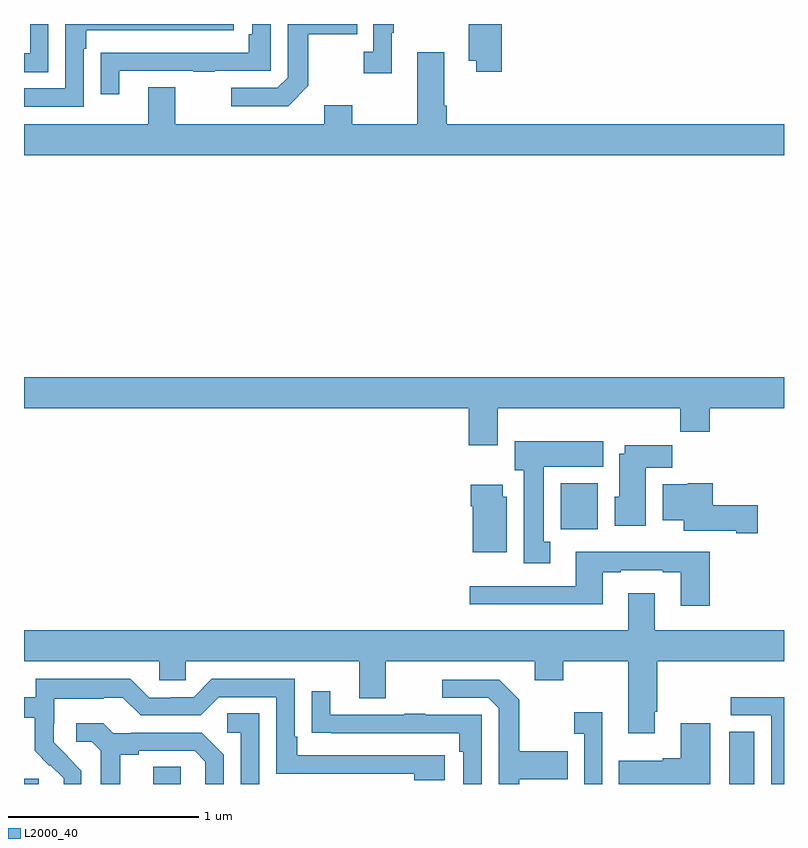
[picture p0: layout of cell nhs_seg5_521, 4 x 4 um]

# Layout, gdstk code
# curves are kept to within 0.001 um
import gdstk
lib = gdstk.Library(unit=1e-6, precision=1e-09)
def R(c, l, rs):  # rectangles x0, y0, x1, y1
    for r in rs: c.add(gdstk.rectangle(r[:2], r[2:], *l))
def P(c, l, *ps):  # polygons
    for p in ps: c.add(gdstk.Polygon(p, *l))
L2000_40 = (2000, 40)

nhs_seg5_521 = lib.new_cell('nhs_seg5_521')
R(nhs_seg5_521, L2000_40, [(145,838.799,145.078,838.827), (145.679,838.799,145.824,838.889), (148.712,838.799,148.843,839.075), (147.824,840.14,148.021,840.382)])
P(nhs_seg5_521, L2000_40, [(146.497,842.473),(146.497,842.746),(146.753,842.746),(146.753,842.799),(146.388,842.799),(146.388,842.517),(146.334,842.463),(146.091,842.463),(146.091,842.367),(146.391,842.367)],
  [(147.515,842.799),(147.34,842.799),(147.34,842.606),(147.38,842.606),(147.38,842.547),(147.515,842.547)],
  [(145.314,842.669),(145.327,842.669),(145.327,842.766),(146.104,842.766),(146.104,842.799),(145.218,842.799),(145.218,842.46),(145,842.46),(145,842.364),(145.314,842.364)],
  [(146.935,842.753),(146.947,842.753),(146.947,842.799),(146.838,842.799),(146.838,842.654),(146.787,842.654),(146.787,842.541),(146.935,842.541)],
  [(145.501,842.553),(145.891,842.553),(145.891,842.548),(146.003,842.548),(146.003,842.553),(146.298,842.553),(146.298,842.799),(146.202,842.799),(146.202,842.746),(146.182,842.746),(146.182,842.649),(145.507,842.649),(145.507,842.648),(145.405,842.648),(145.405,842.43),(145.501,842.43)],
  [(145.128,842.799),(145.032,842.799),(145.032,842.646),(145,842.646),(145,842.545),(145.128,842.545)],
  [(146.579,842.371),(146.579,842.272),(145.795,842.272),(145.795,842.467),(145.655,842.467),(145.655,842.272),(145,842.272),(145,842.108),(149,842.108),(149,842.272),(147.224,842.272),(147.224,842.368),(147.211,842.368),(147.211,842.65),(147.071,842.65),(147.071,842.272),(146.727,842.272),(146.727,842.371)],
  [(147.493,840.776),(148.453,840.776),(148.453,840.652),(148.61,840.652),(148.61,840.776),(149,840.776),(149,840.94),(145,840.94),(145,840.776),(147.341,840.776),(147.341,840.582),(147.493,840.582)],
  [(147.769,840.074),(147.736,840.074),(147.736,840.47),(148.048,840.47),(148.048,840.604),(147.584,840.604),(147.584,840.45),(147.629,840.45),(147.629,839.961),(147.769,839.961)],
  [(148.273,840.464),(148.412,840.464),(148.412,840.583),(148.163,840.583),(148.163,840.538),(148.133,840.538),(148.133,840.312),(148.109,840.312),(148.109,840.158),(148.273,840.158)],
  [(148.861,840.266),(148.625,840.266),(148.625,840.382),(148.494,840.382),(148.494,840.376),(148.361,840.376),(148.361,840.188),(148.472,840.188),(148.472,840.131),(148.748,840.131),(148.748,840.119),(148.861,840.119)],
  [(147.541,840.312),(147.52,840.312),(147.52,840.373),(147.35,840.373),(147.35,840.26),(147.362,840.26),(147.362,840.02),(147.541,840.02)],
  [(148.61,840.022),(147.905,840.022),(147.905,839.841),(147.345,839.841),(147.345,839.744),(148.045,839.744),(148.045,839.913),(148.141,839.913),(148.141,839.925),(148.361,839.925),(148.361,839.913),(148.457,839.913),(148.457,839.736),(148.61,839.736)],
  [(148.321,839.179),(148.334,839.179),(148.334,839.444),(149,839.444),(149,839.608),(148.321,839.608),(148.321,839.803),(148.181,839.803),(148.181,839.608),(145,839.608),(145,839.444),(145.713,839.444),(145.713,839.346),(145.851,839.346),(145.851,839.444),(146.765,839.444),(146.765,839.25),(146.905,839.25),(146.905,839.444),(147.689,839.444),(147.689,839.345),(147.837,839.345),(147.837,839.444),(148.181,839.444),(148.181,839.067),(148.321,839.067)],
  [(145.302,838.87),(145.156,839.018),(145.156,839.115),(145.158,839.115),(145.158,839.249),(145.421,839.249),(145.421,839.253),(145.521,839.253),(145.614,839.16),(145.929,839.16),(146.025,839.256),(146.328,839.256),(146.328,838.854),(147.053,838.854),(147.053,838.82),(147.214,838.82),(147.214,838.95),(146.437,838.95),(146.437,839.047),(146.424,839.047),(146.424,839.352),(145.989,839.352),(145.893,839.256),(145.775,839.256),(145.775,839.253),(145.659,839.253),(145.559,839.353),(145.062,839.353),(145.062,839.256),(145,839.256),(145,839.148),(145.057,839.148),(145.057,838.973),(145.134,838.896),(145.137,838.899),(145.208,838.829),(145.208,838.799),(145.302,838.799)],
  [(147.607,838.823),(147.863,838.823),(147.863,838.971),(147.607,838.971),(147.607,839.243),(147.501,839.349),(147.201,839.349),(147.201,839.253),(147.444,839.253),(147.498,839.199),(147.498,838.799),(147.607,838.799)],
  [(147.408,839.163),(147.113,839.163),(147.113,839.168),(147.001,839.168),(147.001,839.163),(146.611,839.163),(146.611,839.287),(146.515,839.287),(146.515,839.068),(146.617,839.068),(146.617,839.067),(147.292,839.067),(147.292,838.97),(147.312,838.97),(147.312,838.799),(147.408,838.799)],
  [(149,839.256),(148.719,839.256),(148.719,839.16),(148.932,839.16),(148.932,838.799),(149,838.799)],
  [(148.044,839.176),(147.897,839.176),(147.897,839.063),(147.948,839.063),(147.948,838.799),(148.044,838.799)],
  [(146.238,839.171),(146.07,839.171),(146.07,839.07),(146.142,839.07),(146.142,838.799),(146.238,838.799)],
  [(145.507,838.952),(145.603,838.952),(145.603,838.974),(145.898,838.974),(145.955,838.917),(145.955,838.799),(146.052,838.799),(146.052,838.954),(145.936,839.07),(145.564,839.07),(145.564,839.067),(145.47,839.067),(145.418,839.119),(145.275,839.119),(145.275,839.022),(145.356,839.022),(145.403,838.975),(145.403,838.799),(145.507,838.799)],
  [(148.612,839.119),(148.457,839.119),(148.457,838.934),(148.361,838.934),(148.361,838.921),(148.131,838.921),(148.131,838.799),(148.612,838.799)])

lib.write_gds('nhs_seg5_521.gds')
